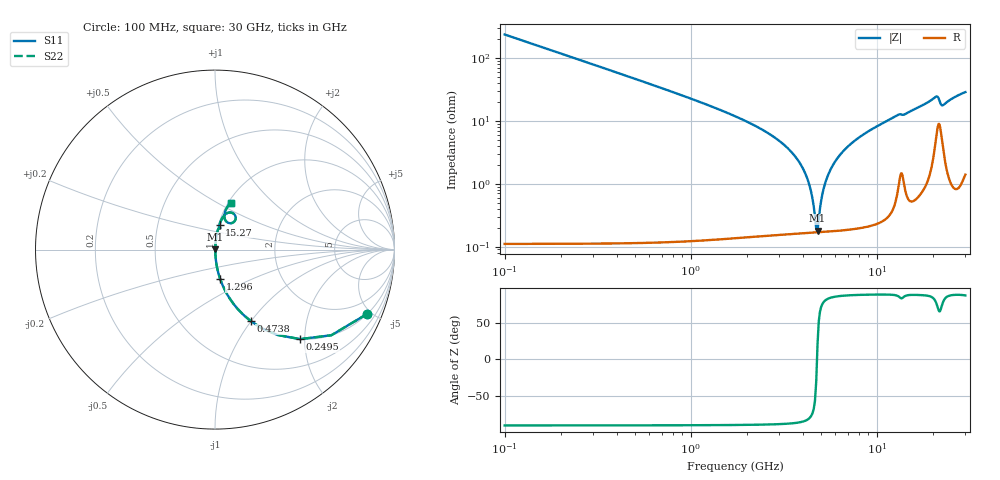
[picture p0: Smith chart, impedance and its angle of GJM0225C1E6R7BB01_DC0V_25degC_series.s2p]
!Murata Part Number: GJM0225C1E6R7BB01
!These Parameters are Measured in Series Mode Connection
!  o--ll--o
!Port1  Port2
!  o------o
!Operation Temp=25[degC], DC Bias Voltage=0[V]
!Freq. Start=100[MHz] Stop=30[GHz], 401[Steps]
!Data Generated on Feb 1, 2023
# Hz S RI R 50
!Freq.(Hz) S11(Real) S11(Imag) S21(Real) S21(Imag) S12(Real) S12(Imag) S22(Real) S22(Imag)
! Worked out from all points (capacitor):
!   401 points, 100 MHz to 30 GHz, reference 50 ohm
!   read as one part in series: C = 6.7 pF near 249.5 MHz
!   lowest |Z| = 179 mohm at 4.809 GHz (marker M1)
!   series resonance near 4.78 GHz, so ESL is about 170 pH
!   S11 on the Smith chart (normalised r, x): 100 MHz: 1.00, -4.75; 249.5 MHz: 1.00, -1.90; 473.8 MHz: 1.00, -0.99; 1.296 GHz: 1.00, -0.34; 15.27 GHz: 1.01, +0.29; 30 GHz: 1.03, +0.57
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1e8  0.8492 -0.3576  0.1508 0.3576  0.1508 0.3576  0.8492 -0.3576
2.495e8  0.4741 -0.4987  0.5259 0.4987  0.5259 0.4987  0.4741 -0.4987
4.7375e8  0.1982 -0.3975  0.8018 0.3975  0.8018 0.3975  0.1982 -0.3975
7.7275e8  0.0831 -0.274  0.9169 0.274  0.9169 0.274  0.0831 -0.274
1.296e9  0.0291 -0.1645  0.9709 0.1645  0.9709 0.1645  0.0291 -0.1645
3.8375e9  0.00209 -0.0219  0.9979 0.0219  0.9979 0.0219  0.00209 -0.0219
4.286e9  0.00176 -0.0108  0.9982 0.0108  0.9982 0.0108  0.00176 -0.0108
4.65975e9  0.00167 -0.00253  0.9983 0.00253  0.9983 0.00253  0.00167 -0.00253
4.80925e9  0.00168 0.000598  0.9983 -0.000598  0.9983 -0.000598  0.00168 0.000598
4.884e9  0.00169 0.00213  0.9983 -0.00213  0.9983 -0.00213  0.00169 0.00213
5.10825e9  0.00174 0.00658  0.9983 -0.00658  0.9983 -0.00658  0.00174 0.00658
5.6315e9  0.002 0.0163  0.998 -0.0163  0.998 -0.0163  0.002 0.0163
6.5285e9  0.00279 0.0314  0.9972 -0.0314  0.9972 -0.0314  0.00279 0.0314
7.94875e9  0.00473 0.0527  0.9953 -0.0527  0.9953 -0.0527  0.00473 0.0527
1.01165e10  0.00911 0.0821  0.9909 -0.0821  0.9909 -0.0821  0.00911 0.0821
1.505e10  0.0243 0.1363  0.9757 -0.1363  0.9757 -0.1363  0.0243 0.1363
1.527425e10  0.0251 0.1394  0.9749 -0.1394  0.9749 -0.1394  0.0251 0.1394
2.005825e10  0.0672 0.203  0.9328 -0.203  0.9328 -0.203  0.0672 0.203
2.11795e10  0.1097 0.1937  0.8903 -0.1937  0.8903 -0.1937  0.1097 0.1937
2.245025e10  0.0715 0.1504  0.9285 -0.1504  0.9285 -0.1504  0.0715 0.1504
2.50665e10  0.0549 0.2062  0.9451 -0.2062  0.9451 -0.2062  0.0549 0.2062
3e10  0.087 0.2586  0.913 -0.2586  0.913 -0.2586  0.087 0.2586
